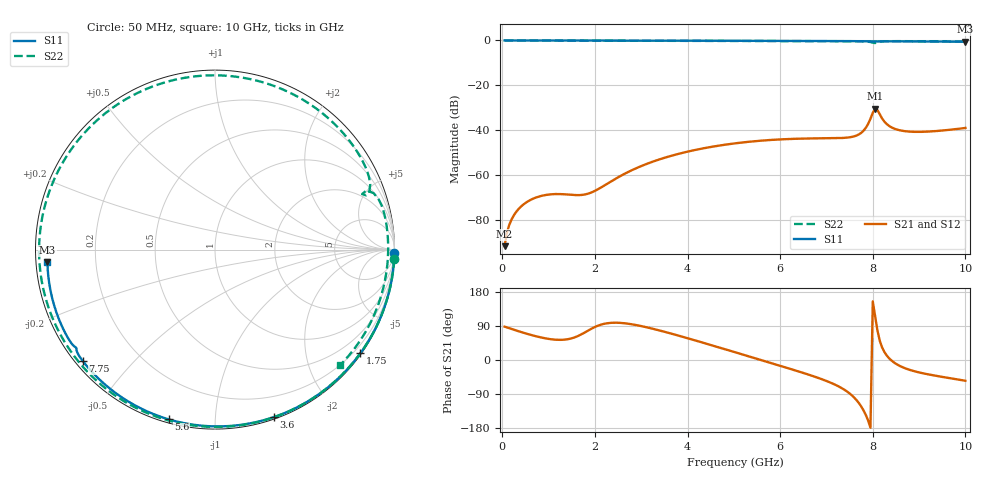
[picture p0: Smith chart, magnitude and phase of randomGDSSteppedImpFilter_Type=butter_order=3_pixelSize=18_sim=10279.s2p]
! freq	dB(S11)	phase(S11)	dB(S12)	phase(S12)
!  dB(S21)	phase(S21)	dB(S22)	phase(S22)
!S-par simulation data
#  GHz  S  DB  R 50
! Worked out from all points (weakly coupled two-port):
!   200 points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, 50 MHz to 10 GHz, reference 50 ohm
!   highest |S21| = -30.52 dB at 8.05 GHz (marker M1); lowest = -91.9 dB at 50 MHz (marker M2)
!   lowest |S11| = -0.6 dB at 10 GHz (marker M3), VSWR 30.52, Z = 1.64 - j1.88 ohm
!   |S11| at or under -10 dB: nowhere
!   |S22| runs from -1.1 to 0.0 dB; largest |S21 - S12| = 0
!   S11 on the Smith chart (normalised r, x): 50 MHz: open; 1.75 GHz: 0.03, -3.12; 3.6 GHz: 0.02, -1.41; 5.6 GHz: 0.02, -0.76; 7.75 GHz: 0.02, -0.36; 10 GHz: 0.03, -0.04
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0.05  -0.00 -1.0  -91.85 88.0  -91.85 88.0  -0.00 -3.1
0.2  -0.00 -4.1  -79.92 81.9  -79.92 81.9  -0.01 -12.3
0.35  -0.01 -7.2  -75.29 76.0  -75.29 76.0  -0.03 -21.5
0.55  -0.01 -11.3  -71.89 68.5  -71.89 68.5  -0.04 -33.5
0.95  -0.02 -19.5  -68.95 56.7  -68.95 56.7  -0.07 -56.8
1.35  -0.04 -27.5  -68.70 53.8  -68.70 53.8  -0.09 -78.8
1.75  -0.04 -35.5  -68.89 70.5  -68.89 70.5  -0.11 -99.3
2.6  -0.07 -52.0  -59.98 97.5  -59.98 97.5  -0.14 -138.4
3.4  -0.09 -67.0  -53.06 77.8  -53.06 77.8  -0.17 -171.1
3.6  -0.09 -70.7  -51.79 71.3  -51.79 71.3  -0.17 -178.8
4.3  -0.12 -83.2  -48.33 46.9  -48.33 46.9  -0.20 154.8
5.05  -0.15 -96.1  -45.88 19.6  -45.88 19.6  -0.22 127.3
5.6  -0.17 -105.3  -44.72 -0.5  -44.72 -0.5  -0.24 107.2
6.15  -0.20 -114.3  -44.04 -20.8  -44.04 -20.8  -0.26 87.1
6.7  -0.24 -123.1  -43.74 -42.1  -43.74 -42.1  -0.27 67.1
7.45  -0.29 -135.1  -43.37 -83.6  -43.37 -83.6  -0.32 39.9
7.75  -0.32 -139.9  -41.26 -122.5  -41.26 -122.5  -0.39 28.7
7.9  -0.35 -142.4  -37.25 -159.8  -37.25 -159.8  -0.56 22.8
8.05  -0.47 -144.6  -30.52 117.2  -30.52 117.2  -1.15 20.7
8.35  -0.39 -148.9  -38.12 5.0  -38.12 5.0  -0.31 11.0
8.9  -0.44 -157.8  -40.80 -29.7  -40.80 -29.7  -0.33 -8.1
10  -0.57 -175.7  -39.08 -54.8  -39.08 -54.8  -0.46 -42.7
